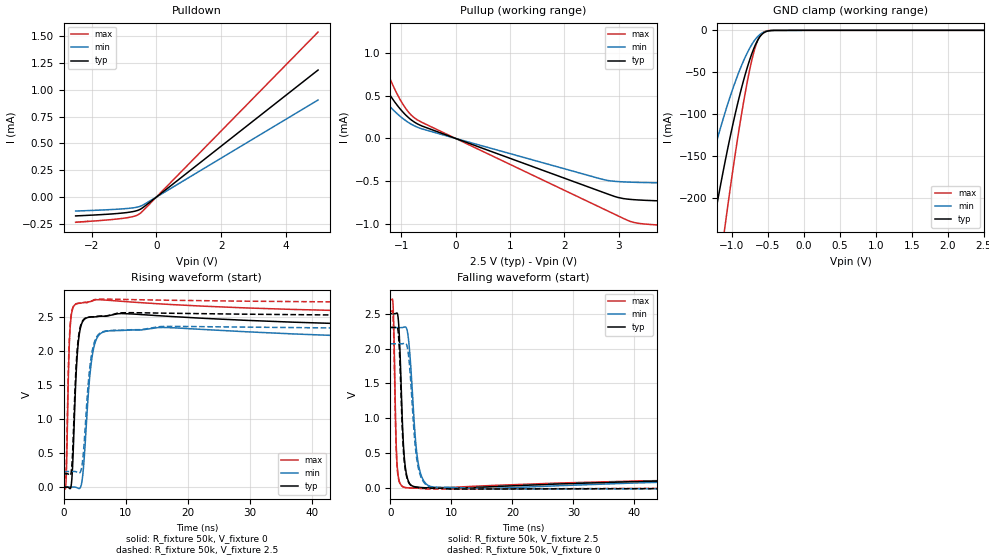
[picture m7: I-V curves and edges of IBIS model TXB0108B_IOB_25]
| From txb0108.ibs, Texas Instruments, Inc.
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[Model]   TXB0108B_IOB_25
Model_type  I/O
Enable   Active-High
Vref =   0
Rref =   1e6
Cref =   15p
Vmeas =   1.25
Vinl=0.805
Vinh=1.755
| variable   typ   min   max
C_comp   9.58pF   8.11pF   10.42pF
| C_pullup   9.47pF   8.07pF   10.32pF
| C_pulldown   15.36pF   7.80pF   36.90pF
| C_tri-state   9.58pF   8.11pF   10.42pF
[Temperature Range]   40   100   -40
| Ambient temperature   25   85   -40
[Voltage range]   2.5   2.3   2.7
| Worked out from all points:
|   slope of the pulldown table from 0 to 0.375 V, typ, clamps not added: 4.21 kohm
|   slope of the pullup table from 0 to 0.375 V, typ, clamps not added: 4.29 kohm
|   GND clamp passes 1 mA (typ) near -0.50 V on its own axis
|   rising waveform, R_fixture 50k, V_fixture 0: 20-80 % time 610ps typ, 943ps min, 369ps max; typ from 0 V to 2.3 V
|   falling waveform, R_fixture 50k, V_fixture 2.5: 20-80 % time 583ps typ, 946ps min, 352ps max; typ from 2.5 V to 0.193 V
|   rising waveform, R_fixture 50k, V_fixture 2.5: 20-80 % time 697ps typ, 1.1ns min, 409ps max; typ from 0.194 V to 2.5 V
|   falling waveform, R_fixture 50k, V_fixture 0: 20-80 % time 663ps typ, 1.1ns min, 386ps max; typ from 2.3 V to 0 V
[GND Clamp]
| TXB0108B_IOB_25
|   Voltage   I(typ)   I(min)   I(max)
-2.5V     -981.2mA   -681.4mA   -1.329A
-1.51V    -365.8mA   -237.3mA   -530.4mA
-1.48V    -349.3mA   -226.1mA   -507.8mA
-1.245V   -228mA     -144.7mA   -337.3mA
-1.09V    -156.8mA   -98.13mA   -233.4mA
-900mV    -82.05mA   -50.36mA   -120.5mA
-750mV    -35.75mA   -21.62mA   -47.91mA
-695mV    -22.62mA   -13.78mA   -27.56mA
-645mV    -13.12mA   -8.23mA    -13.85mA
-595mV    -6.406mA   -4.307mA   -5.45mA
-540mV    -2.308mA   -1.755mA   -1.425mA
2.5V      436.8pA    2.56nA     74.49pA
[Pulldown]
| TXB0108B_IOB_25
|   Voltage   I(typ)   I(min)   I(max)
-2.5V     -176.2uA   -130.8uA   -235uA
-1.005V   -148.1uA   -109.5uA   -197.6uA
-685mV    -133.3uA   -99.38uA   -179.1uA
-505mV    -114.9uA   -86.66uA   -152.7uA
5V        1.186mA    906.2uA    1.541mA
[Pullup]
| TXB0108B_IOB_25
|   Voltage   I(typ)   I(min)   I(max)
-2.5V     2.568mA    1.014mA    4.662mA
-2.27V    2.452mA    1.109mA    3.439mA
-2.145V   2.045mA    1.305mA    2.878mA
-2.09V    1.887mA    1.318mA    2.675mA
-1.835V   1.328mA    952.3uA    1.949mA
-1.575V   933.7uA    670.2uA    1.363mA
-1.04V    361.7uA    270.6uA    478.2uA
-835mV    227.2uA    174.1uA    286.2uA
-620mV    145.9uA    112.1uA    188.5uA
2.655V    -618.4uA   -471.6uA   -806.7uA
3.205V    -713.5uA   -511.9uA   -970.7uA
5V        -745.6uA   -528.9uA   -1.04mA
[Ramp]
| TXB0108B_IOB_25
| variable   typ   min   max
dV/dt_r   1.54/7.49E-10   1.42/1.18E-09   1.67/4.40E-10
dV/dt_f   1.51/6.84E-10   1.39/1.14E-09   1.63/4.03E-10
R_load = 50k
[Rising Waveform]
| TXB0108B_IOB_25
R_fixture =   50k
C_fixture =   0
L_fixture =   0
V_fixture =   0
V_fixture_min = 0
V_fixture_max = 0
|   Time   V(typ)   V(min)   V(max)
0s        113.9nV    1.181uV    33.16nV
401ps     118.1uV    -12.54uV   70.99mV
885ps     -11.31mV   -70.51uV   1.966V
1.325ns   99.83mV    269.7uV    2.558V
2.073ns   1.73V      -5.368mV   2.687V
2.557ns   2.25V      -20.5mV    2.695V
3.129ns   2.433V     201.2mV    2.704V
4.361ns   2.493V     1.738V     2.721V
5.153ns   2.496V     2.134V     2.745V
217.7ns   2.303V     2.071V     2.534V
[Falling Waveform]
| TXB0108B_IOB_25
R_fixture =   50k
C_fixture =   0
L_fixture =   0
V_fixture =   2.5
V_fixture_min = 2.3
V_fixture_max = 2.7
|   Time   V(typ)   V(min)   V(max)
0s        2.5V       2.3V       2.7V
489ps     2.5V       2.3V       2.548V
929ps     2.503V     2.3V       736.2mV
1.149ns   2.503V     2.3V       294.2mV
1.501ns   2.133V     2.299V     89.84mV
2.161ns   605.7mV    2.304V     16.75mV
2.601ns   219.1mV    2.299V     6.55mV
4.581ns   12.23mV    352.8mV    -980.4uV
7.177ns   161.9uV    13.9mV     -2.829mV
217.7ns   192.7mV    222.5mV    164mV
[Rising Waveform]
| TXB0108B_IOB_25
R_fixture =   50k
C_fixture =   0
L_fixture =   0
V_fixture =   2.5
V_fixture_min = 2.3
V_fixture_max = 2.7
|   Time   V(typ)   V(min)   V(max)
0s        194.2mV    228.2mV    164.5mV
401ps     194.3mV    228.2mV    234.8mV
885ps     182.6mV    228.1mV    2.055V
1.281ns   251.4mV    228.3mV    2.554V
2.029ns   1.774V     224.1mV    2.688V
2.513ns   2.265V     206.3mV    2.696V
3.129ns   2.445V     432.7mV    2.706V
4.317ns   2.495V     1.816V     2.723V
5.241ns   2.5V       2.186V     2.752V
217.7ns   2.5V       2.301V     2.7V
[Falling Waveform]
| TXB0108B_IOB_25
R_fixture =   50k
C_fixture =   0
L_fixture =   0
V_fixture =   0
V_fixture_min = 0
V_fixture_max = 0
|   Time   V(typ)   V(min)   V(max)
0s        2.303V     2.068V     2.533V
489ps     2.302V     2.068V     2.384V
885ps     2.304V     2.068V     783.7mV
1.149ns   2.306V     2.068V     261.5mV
1.457ns   2.021V     2.067V     92.42mV
2.117ns   580.5mV    2.071V     16.17mV
2.601ns   191.6mV    2.067V     5.176mV
4.493ns   8.194mV    330.6mV    -1.81mV
7.045ns   -1.404mV   10.53mV    -13.58mV
217.7ns   -113.3uV   -435.4uV   -17.38uV
